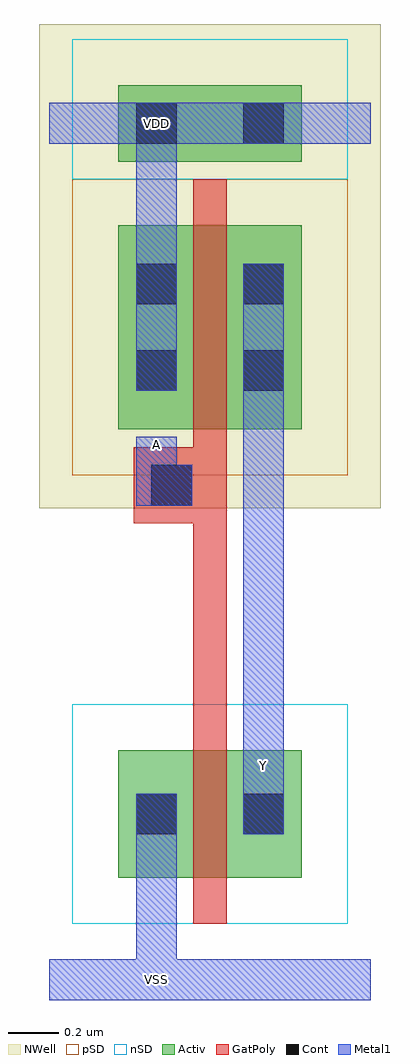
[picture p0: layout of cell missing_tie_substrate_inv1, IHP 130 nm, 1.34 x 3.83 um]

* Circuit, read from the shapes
.subckt missing_tie_substrate_inv1 A VDD VSS Y
XM1 Y A VSS VSUBS sg13_lv_nmos w=0.5u l=0.13u
XM2 Y A VDD VDD sg13_lv_pmos w=0.8u l=0.13u
.ends

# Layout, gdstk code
import gdstk
lib = gdstk.Library(unit=1e-6, precision=1e-09)
def R(c, l, rs):  # rectangles x0, y0, x1, y1
    for r in rs: c.add(gdstk.rectangle(r[:2], r[2:], *l))
Activ = (1, 0)
GatPoly = (5, 0)
Cont = (6, 0)
nSD = (7, 0)
Metal1 = (8, 0)
pSD = (14, 0)
NWell = (31, 0)

missing_tie_substrate_in = lib.new_cell('missing_tie_substrate_inv1')
R(missing_tie_substrate_in, Activ, [(0.27,0.4,0.99,0.9), (0.27,2.16,0.99,2.96), (0.27,3.21,0.99,3.51)])
R(missing_tie_substrate_in, GatPoly, [(0.565,0.22,0.695,3.14), (0.33,1.79,0.695,2.09)])
R(missing_tie_substrate_in, Cont, [(0.34,0.57,0.5,0.73), (0.76,0.57,0.92,0.73), (0.4,1.86,0.56,2.02), (0.34,2.31,0.5,2.47), (0.76,2.31,0.92,2.47), (0.34,2.65,0.5,2.81), (0.76,2.65,0.92,2.81), (0.34,3.28,0.5,3.44), (0.76,3.28,0.92,3.44)])
R(missing_tie_substrate_in, nSD, [(0.09,0.22,1.17,1.08), (0.09,3.14,1.17,3.69)])
R(missing_tie_substrate_in, Metal1, [(0,-0.08,1.26,0.08), (0.34,-0.08,0.5,0.73), (0.34,-0.08,0.92,0.08), (0.76,0.57,0.92,1.17), (0.76,1.01,0.92,1.17), (0.76,1.01,0.92,2.81), (0.34,1.86,0.5,2.13), (0.34,1.86,0.56,2.02), (0.34,2.31,0.5,3.44), (0,3.28,1.26,3.44), (0.34,3.28,0.92,3.44)])
R(missing_tie_substrate_in, pSD, [(0.09,1.98,1.17,3.14)])
R(missing_tie_substrate_in, NWell, [(-0.04,1.85,1.3,3.75)])
missing_tie_substrate_in.add(gdstk.Label('VSS', (0.42,0), layer=8, texttype=25))
missing_tie_substrate_in.add(gdstk.Label('A', (0.42,2.1), layer=8, texttype=25))
missing_tie_substrate_in.add(gdstk.Label('VDD', (0.42,3.36), layer=8, texttype=25))
missing_tie_substrate_in.add(gdstk.Label('Y', (0.84,0.84), layer=8, texttype=25))

lib.write_gds('missing_tie_substrate_inv1.gds')
